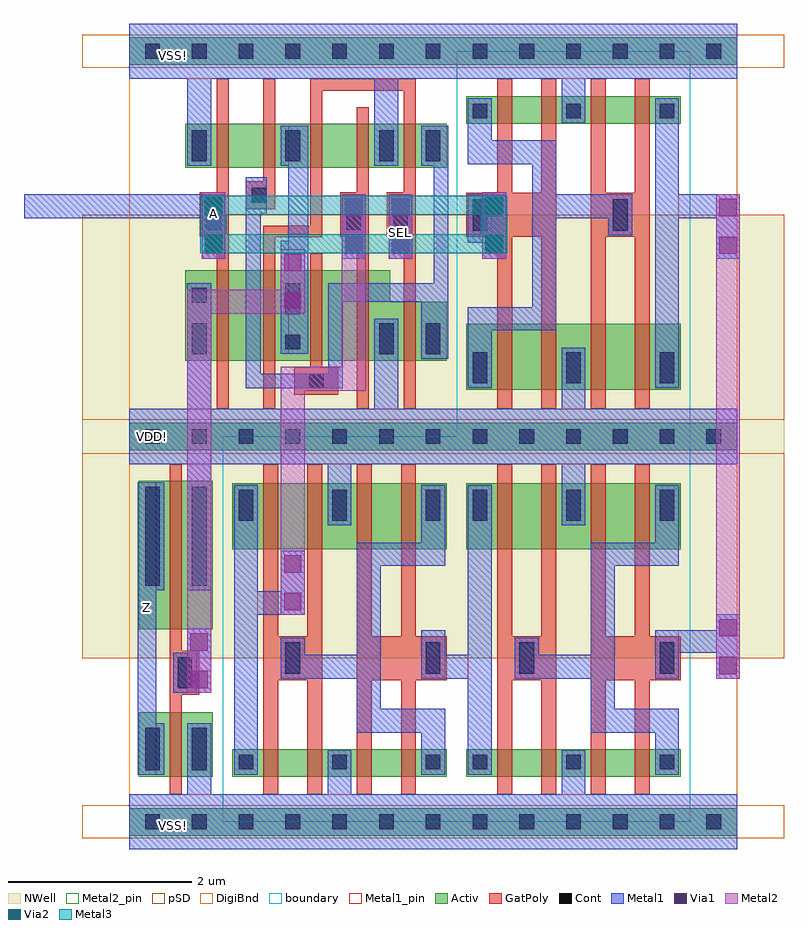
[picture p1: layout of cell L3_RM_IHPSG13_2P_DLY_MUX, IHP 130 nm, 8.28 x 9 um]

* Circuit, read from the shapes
.subckt L3_RM_IHPSG13_2P_DLY_MUX A SEL VDD! VSS! Z
XM1 VSS! L3_RSC_IHPSG13_CINVX2_18/A Z VSS! sg13_lv_nmos w=0.705u l=0.13u
XM2 n1 A VSS! VSS! sg13_lv_nmos w=0.48u l=0.13u
XM3 n2 n3 L3_RSC_IHPSG13_MX2IX1_12/A1 VSS! sg13_lv_nmos w=0.3u l=0.16u
XM4 L3_RSC_IHPSG13_CINVX2_18/A n4 n1 VSS! sg13_lv_nmos w=0.48u l=0.13u
XM5 VSS! n3 n2 VSS! sg13_lv_nmos w=0.3u l=0.16u
XM6 n5 SEL L3_RSC_IHPSG13_CINVX2_18/A VSS! sg13_lv_nmos w=0.48u l=0.13u
XM7 n6 L3_RSC_IHPSG13_CDLYX1_10/A VSS! VSS! sg13_lv_nmos w=0.3u l=0.16u
XM8 VSS! L3_RSC_IHPSG13_MX2IX1_12/A1 n5 VSS! sg13_lv_nmos w=0.48u l=0.13u
XM9 n3 L3_RSC_IHPSG13_CDLYX1_10/A n6 VSS! sg13_lv_nmos w=0.3u l=0.16u
XM10 n4 SEL VSS! VSS! sg13_lv_nmos w=0.48u l=0.13u
XM11 n7 n8 L3_RSC_IHPSG13_CDLYX1_10/A VSS! sg13_lv_nmos w=0.3u l=0.16u
XM12 n9 A n10 VSS! sg13_lv_nmos w=0.3u l=0.16u
XM13 VSS! n8 n7 VSS! sg13_lv_nmos w=0.3u l=0.16u
XM14 VSS! A n9 VSS! sg13_lv_nmos w=0.3u l=0.16u
XM15 n11 L3_RSC_IHPSG13_CDLYX1_11/A VSS! VSS! sg13_lv_nmos w=0.3u l=0.16u
XM16 n12 n10 VSS! VSS! sg13_lv_nmos w=0.3u l=0.16u
XM17 n8 L3_RSC_IHPSG13_CDLYX1_11/A n11 VSS! sg13_lv_nmos w=0.3u l=0.16u
XM18 L3_RSC_IHPSG13_CDLYX1_11/A n10 n12 VSS! sg13_lv_nmos w=0.3u l=0.16u
XM19 VDD! L3_RSC_IHPSG13_CINVX2_18/A Z VDD! sg13_lv_pmos w=1.62u l=0.13u
XM20 n13 A VDD! VDD! sg13_lv_pmos w=0.985u l=0.13u
XM21 n14 n3 L3_RSC_IHPSG13_MX2IX1_12/A1 VDD! sg13_lv_pmos w=0.72u l=0.16u
XM22 L3_RSC_IHPSG13_CINVX2_18/A SEL n13 VDD! sg13_lv_pmos w=0.985u l=0.13u
XM23 VDD! n3 n14 VDD! sg13_lv_pmos w=0.72u l=0.16u
XM24 n15 n4 L3_RSC_IHPSG13_CINVX2_18/A VDD! sg13_lv_pmos w=0.985u l=0.13u
XM25 n16 L3_RSC_IHPSG13_CDLYX1_10/A VDD! VDD! sg13_lv_pmos w=0.72u l=0.16u
XM26 VDD! L3_RSC_IHPSG13_MX2IX1_12/A1 n15 VDD! sg13_lv_pmos w=0.985u l=0.13u
XM27 n3 L3_RSC_IHPSG13_CDLYX1_10/A n16 VDD! sg13_lv_pmos w=0.72u l=0.16u
XM28 n4 SEL VDD! VDD! sg13_lv_pmos w=0.645u l=0.13u
XM29 n17 n8 L3_RSC_IHPSG13_CDLYX1_10/A VDD! sg13_lv_pmos w=0.72u l=0.16u
XM30 n18 A n10 VDD! sg13_lv_pmos w=0.72u l=0.16u
XM31 VDD! n8 n17 VDD! sg13_lv_pmos w=0.72u l=0.16u
XM32 VDD! A n18 VDD! sg13_lv_pmos w=0.72u l=0.16u
XM33 n19 L3_RSC_IHPSG13_CDLYX1_11/A VDD! VDD! sg13_lv_pmos w=0.72u l=0.16u
XM34 n20 n10 VDD! VDD! sg13_lv_pmos w=0.72u l=0.16u
XM35 n8 L3_RSC_IHPSG13_CDLYX1_11/A n19 VDD! sg13_lv_pmos w=0.72u l=0.16u
XM36 L3_RSC_IHPSG13_CDLYX1_11/A n10 n20 VDD! sg13_lv_pmos w=0.72u l=0.16u
.ends

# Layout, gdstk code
from math import pi, radians
import gdstk
lib = gdstk.Library(unit=1e-6, precision=1e-09)
def R(c, l, rs):  # rectangles x0, y0, x1, y1
    for r in rs: c.add(gdstk.rectangle(r[:2], r[2:], *l))
def A(c, l, x, y, w, h, nx, ny, dx, dy):  # array of equal rectangles
    R(c, l, [(x+i*dx, y+j*dy, x+i*dx+w, y+j*dy+h) for i in range(nx) for j in range(ny)])
def P(c, l, *ps):  # polygons
    for p in ps: c.add(gdstk.Polygon(p, *l))
Activ = (1, 0)
GatPoly = (5, 0)
Cont = (6, 0)
Metal1 = (8, 0)
Metal1_pin = (8, 2)
Metal2 = (10, 0)
Metal2_pin = (10, 2)
pSD = (14, 0)
DigiBnd = (16, 0)
Via1 = (19, 0)
Via2 = (29, 0)
Metal3 = (30, 0)
NWell = (31, 0)
boundary = (189, 4)

l3_viagen23_cdns_7564820 = lib.new_cell('L3_viagen23_CDNS_7564820148250')
R(l3_viagen23_cdns_7564820, Metal2, [(-0.13,-0.35,0.13,0.35)])
R(l3_viagen23_cdns_7564820, Via2, [(-0.095,-0.3,0.095,-0.11), (-0.095,0.11,0.095,0.3)])
R(l3_viagen23_cdns_7564820, Metal3, [(-0.145,-0.315,0.145,0.315)])

l3_viagen12_cdns_7564820 = lib.new_cell('L3_viagen12_CDNS_7564820148248')
R(l3_viagen12_cdns_7564820, Metal1, [(-0.13,-0.35,0.13,0.35)])
R(l3_viagen12_cdns_7564820, Metal2, [(-0.13,-0.35,0.13,0.35)])
R(l3_viagen12_cdns_7564820, Via1, [(-0.095,-0.3,0.095,-0.11), (-0.095,0.11,0.095,0.3)])

l3_rsc_ihpsg13_cdlyx1 = lib.new_cell('L3_RSC_IHPSG13_CDLYX1')
R(l3_rsc_ihpsg13_cdlyx1, Activ, [(0,-0.15,2.55,0.15), (0.105,0.49,2.445,0.79), (0.105,2.97,2.445,3.69), (0,4.05,2.55,4.35)])
P(l3_rsc_ihpsg13_cdlyx1, GatPoly, [(0.445,0.3),(0.445,1.545),(0.105,1.545),(0.105,2.025),(0.445,2.025),(0.445,3.9),(0.605,3.9),(0.605,2.025),(0.925,2.025),(0.925,3.9),(1.085,3.9),(1.085,0.3),(0.925,0.3),(0.925,1.545),(0.605,1.545),(0.605,0.3)],
  [(1.465,0.3),(1.465,3.9),(1.625,3.9),(1.625,2.025),(1.945,2.025),(1.945,3.9),(2.105,3.9),(2.105,0.3),(1.945,0.3),(1.945,1.545),(1.625,1.545),(1.625,0.3)])
A(l3_rsc_ihpsg13_cdlyx1, Cont, 0.175, -0.08, 0.16, 0.16, 5, 2, 0.51, 4.2)
A(l3_rsc_ihpsg13_cdlyx1, Cont, 0.175, 0.57, 0.16, 0.16, 3, 1, 1.02, 0)
A(l3_rsc_ihpsg13_cdlyx1, Cont, 0.175, 3.28, 0.16, 0.34, 3, 1, 1.02, 0)
R(l3_rsc_ihpsg13_cdlyx1, Cont, [(0.175,1.615,0.335,1.955), (1.705,1.615,1.865,1.955)])
R(l3_rsc_ihpsg13_cdlyx1, Metal1, [(0,-0.3,2.55,0.3), (1.145,0.3,1.405,0.78), (2.165,0.51,2.425,3.67), (0.125,1.56,0.385,2.09)])
P(l3_rsc_ihpsg13_cdlyx1, Metal1, [(1.145,3.23),(1.145,3.9),(0,3.9),(0,4.5),(2.55,4.5),(2.55,3.9),(1.405,3.9),(1.405,3.23)],
  [(0.125,0.51),(0.125,1.23),(0.825,1.23),(0.825,2.79),(0.125,2.79),(0.125,3.67),(0.385,3.67),(0.385,3.04),(1.085,3.04),(1.085,1.82),(1.655,1.82),(1.655,2.005),(1.915,2.005),(1.915,1.56),(1.085,1.56),(1.085,0.97),(0.385,0.97),(0.385,0.51)])
R(l3_rsc_ihpsg13_cdlyx1, Metal1_pin, [(0,-0.3,2.55,0.3), (2.165,0.51,2.425,3.67), (0.125,1.56,0.385,2.09), (0,3.9,2.55,4.5)])
R(l3_rsc_ihpsg13_cdlyx1, pSD, [(-0.51,-0.18,3.06,0.18), (-0.51,1.785,3.06,4.02)])
R(l3_rsc_ihpsg13_cdlyx1, DigiBnd, [(0,-0.3,2.55,4.5)])
R(l3_rsc_ihpsg13_cdlyx1, NWell, [(-0.51,1.785,3.06,4.725)])
R(l3_rsc_ihpsg13_cdlyx1, boundary, [(0,0,2.55,4.2)])
l3_rsc_ihpsg13_cdlyx1.add(gdstk.Label('Z', (2.3,1.755), layer=8, texttype=25))
l3_rsc_ihpsg13_cdlyx1.add(gdstk.Label('VSS!', (0.465,0), layer=8, texttype=25))
l3_rsc_ihpsg13_cdlyx1.add(gdstk.Label('A', (0.265,1.785), layer=8, texttype=25))
l3_rsc_ihpsg13_cdlyx1.add(gdstk.Label('VDD!', (0.51,4.2), layer=8, texttype=25))

l3_rsc_ihpsg13_mx2ix1 = lib.new_cell('L3_RSC_IHPSG13_MX2IX1')
R(l3_rsc_ihpsg13_mx2ix1, Activ, [(0,-0.15,3.06,0.15), (0.105,0.79,2.955,1.27), (0,4.05,3.06,4.35)])
P(l3_rsc_ihpsg13_mx2ix1, Activ, [(0.105,2.39),(0.105,3.375),(2.955,3.375),(2.955,2.73),(2.335,2.73),(2.335,2.39)])
P(l3_rsc_ihpsg13_mx2ix1, GatPoly, [(1.465,0.3),(1.465,1.9),(0.955,1.9),(0.955,3.9),(1.085,3.9),(1.085,2.03),(1.595,2.03),(1.595,0.43),(2.485,0.43),(2.485,1.54),(2.3,1.54),(2.3,2.02),(2.485,2.02),(2.485,3.9),(2.615,3.9),(2.615,0.3)],
  [(1.465,2.21),(1.465,3.445),(1.29,3.445),(1.29,3.745),(1.77,3.745),(1.77,3.445),(1.595,3.445),(1.595,2.21)],
  [(1.975,0.61),(1.975,1.54),(1.79,1.54),(1.79,2.02),(1.975,2.02),(1.975,3.9),(2.105,3.9),(2.105,0.61)],
  [(0.955,0.3),(0.955,1.42),(0.76,1.42),(0.76,1.72),(1.085,1.72),(1.085,0.3)],
  [(0.445,0.3),(0.445,1.54),(0.26,1.54),(0.26,2.02),(0.445,2.02),(0.445,3.9),(0.575,3.9),(0.575,0.3)])
A(l3_rsc_ihpsg13_mx2ix1, Cont, 0.175, -0.08, 0.16, 0.16, 6, 2, 0.51, 4.2)
A(l3_rsc_ihpsg13_mx2ix1, Cont, 0.175, 0.86, 0.16, 0.34, 3, 1, 1.02, 0)
R(l3_rsc_ihpsg13_mx2ix1, Cont, [(2.725,0.86,2.885,1.2), (0.83,1.49,0.99,1.65), (0.33,1.61,0.49,1.95), (1.86,1.61,2.02,1.95), (2.37,1.61,2.53,1.95), (1.195,2.53,1.355,2.87), (0.175,2.58,0.335,2.74), (0.175,2.965,0.335,3.305), (2.215,2.965,2.375,3.305), (2.725,2.965,2.885,3.305), (1.195,3.09,1.355,3.25), (1.45,3.515,1.61,3.675)])
R(l3_rsc_ihpsg13_mx2ix1, Metal1, [(0.28,1.56,0.54,2), (1.81,1.56,2.07,2), (2.32,1.56,2.58,2)])
P(l3_rsc_ihpsg13_mx2ix1, Metal1, [(0,-0.3),(0,0.3),(0.125,0.3),(0.125,1.25),(0.385,1.25),(0.385,0.3),(2.165,0.3),(2.165,1.25),(2.425,1.25),(2.425,0.3),(3.06,0.3),(3.06,-0.3)],
  [(2.675,0.81),(2.675,1.25),(2.81,1.25),(2.81,2.53),(1.66,2.53),(1.66,3.515),(0.925,3.515),(0.925,1.765),(0.99,1.765),(0.99,1.375),(0.765,1.375),(0.765,3.675),(1.82,3.675),(1.82,2.73),(2.675,2.73),(2.675,3.355),(2.97,3.355),(2.97,0.81)],
  [(0.125,2.53),(0.125,3.9),(0,3.9),(0,4.5),(3.06,4.5),(3.06,3.9),(2.425,3.9),(2.425,2.915),(2.165,2.915),(2.165,3.9),(0.385,3.9),(0.385,2.53)],
  [(1.145,0.81),(1.145,1.25),(1.225,1.25),(1.225,2.065),(1.145,2.065),(1.145,3.3),(1.445,3.3),(1.445,0.81)])
R(l3_rsc_ihpsg13_mx2ix1, Metal1_pin, [(0,-0.3,3.06,0.3), (1.225,0.81,1.445,3.3), (0.28,1.56,0.54,2), (1.81,1.56,2.07,2), (2.32,1.56,2.58,2), (0,3.9,3.06,4.5)])
R(l3_rsc_ihpsg13_mx2ix1, pSD, [(-0.51,-0.18,3.57,0.18), (-0.51,1.785,3.57,4.02)])
R(l3_rsc_ihpsg13_mx2ix1, DigiBnd, [(0,-0.3,3.06,4.5)])
R(l3_rsc_ihpsg13_mx2ix1, NWell, [(-0.51,1.785,3.57,4.725)])
l3_rsc_ihpsg13_mx2ix1.add(gdstk.Label('A0', (0.415,1.755), layer=8, texttype=2))
l3_rsc_ihpsg13_mx2ix1.add(gdstk.Label('VDD!', (0.84,4.2), layer=8, texttype=2))
l3_rsc_ihpsg13_mx2ix1.add(gdstk.Label('VSS!', (1.155,0.005), layer=8, texttype=2))
l3_rsc_ihpsg13_mx2ix1.add(gdstk.Label('S', (2.415,1.815), layer=8, texttype=2))
l3_rsc_ihpsg13_mx2ix1.add(gdstk.Label('ZN', (1.28,2.425), layer=8, texttype=2))
l3_rsc_ihpsg13_mx2ix1.add(gdstk.Label('A1', (1.97,1.725), layer=8, texttype=2))

l3_rsc_ihpsg13_fill1 = lib.new_cell('L3_RSC_IHPSG13_FILL1')
R(l3_rsc_ihpsg13_fill1, Activ, [(0,-0.15,0.51,0.15), (0,4.05,0.51,4.35)])
R(l3_rsc_ihpsg13_fill1, Cont, [(0.175,-0.08,0.335,0.08), (0.175,4.12,0.335,4.28)])
R(l3_rsc_ihpsg13_fill1, Metal1, [(0,-0.3,0.51,0.3), (0,3.9,0.51,4.5)])
R(l3_rsc_ihpsg13_fill1, Metal1_pin, [(0,-0.3,0.51,0.3), (0,3.9,0.51,4.5)])
R(l3_rsc_ihpsg13_fill1, pSD, [(-0.51,-0.18,1.02,0.18), (-0.51,1.785,1.02,4.02)])
R(l3_rsc_ihpsg13_fill1, DigiBnd, [(0,-0.3,0.51,4.5)])
R(l3_rsc_ihpsg13_fill1, NWell, [(-0.51,1.785,1.02,4.725)])
l3_rsc_ihpsg13_fill1.add(gdstk.Label('VDD!', (0.255,4.2), layer=8, texttype=2))
l3_rsc_ihpsg13_fill1.add(gdstk.Label('VSS!', (0.26,0.01), layer=8, texttype=2))

l3_m2_m1_cdns_7564820148 = lib.new_cell('L3_M2_M1_CDNS_756482014820')
R(l3_m2_m1_cdns_7564820148, Metal1, [(-0.35,-0.13,0.35,0.13)])
R(l3_m2_m1_cdns_7564820148, Metal2, [(-0.35,-0.13,0.35,0.13)])
R(l3_m2_m1_cdns_7564820148, Via1, [(-0.3,-0.095,-0.11,0.095), (0.11,-0.095,0.3,0.095)])

l3_rsc_ihpsg13_cinvx2 = lib.new_cell('L3_RSC_IHPSG13_CINVX2')
R(l3_rsc_ihpsg13_cinvx2, Activ, [(0,-0.15,1.02,0.15), (0.105,0.49,0.915,1.195), (0.105,2.1,0.915,3.72), (0,4.05,1.02,4.35)])
P(l3_rsc_ihpsg13_cinvx2, GatPoly, [(0.445,0.3),(0.445,1.385),(0.255,1.385),(0.255,1.865),(0.445,1.865),(0.445,3.9),(0.575,3.9),(0.575,0.3)])
R(l3_rsc_ihpsg13_cinvx2, Cont, [(0.175,-0.08,0.335,0.08), (0.685,-0.08,0.845,0.08), (0.175,0.56,0.335,1.025), (0.685,0.56,0.845,1.025), (0.33,1.455,0.49,1.795), (0.175,2.575,0.335,3.65), (0.685,2.575,0.845,3.65), (0.175,4.12,0.335,4.28), (0.685,4.12,0.845,4.28)])
R(l3_rsc_ihpsg13_cinvx2, Metal1, [(0.28,1.405,0.54,1.845)])
P(l3_rsc_ihpsg13_cinvx2, Metal1, [(0.635,0.51),(0.635,1.075),(0.725,1.075),(0.725,2.525),(0.635,2.525),(0.635,3.7),(0.925,3.7),(0.925,0.51)],
  [(0.125,2.525),(0.125,3.9),(0,3.9),(0,4.5),(1.02,4.5),(1.02,3.9),(0.385,3.9),(0.385,2.525)],
  [(0,-0.3),(0,0.3),(0.125,0.3),(0.125,1.075),(0.385,1.075),(0.385,0.3),(1.02,0.3),(1.02,-0.3)])
R(l3_rsc_ihpsg13_cinvx2, Metal1_pin, [(0,-0.3,1.02,0.3), (0.725,0.51,0.925,3.7), (0.28,1.405,0.54,1.845), (0,3.9,1.02,4.5)])
R(l3_rsc_ihpsg13_cinvx2, pSD, [(-0.51,-0.18,1.53,0.18), (-0.51,1.785,1.53,4.02)])
R(l3_rsc_ihpsg13_cinvx2, DigiBnd, [(0,-0.3,1.02,4.5)])
R(l3_rsc_ihpsg13_cinvx2, NWell, [(-0.51,1.785,1.53,4.725)])
l3_rsc_ihpsg13_cinvx2.add(gdstk.Label('VDD!', (0.565,4.155), layer=8, texttype=2))
l3_rsc_ihpsg13_cinvx2.add(gdstk.Label('VSS!', (0.54,-0.045), layer=8, texttype=2))
l3_rsc_ihpsg13_cinvx2.add(gdstk.Label('A', (0.41,1.625), layer=8, texttype=2))
l3_rsc_ihpsg13_cinvx2.add(gdstk.Label('Z', (0.825,2.015), layer=8, texttype=2))

l3_rm_ihpsg13_2p_dly_mux = lib.new_cell('L3_RM_IHPSG13_2P_DLY_MUX')
R(l3_rm_ihpsg13_2p_dly_mux, Metal1, [(2.935,1.56,3.185,1.82), (5.485,1.84,5.89,2.09), (0.895,2.255,1.3,2.515), (-1.655,6.58,0.28,6.84), (5.485,6.58,5.89,6.84)])
R(l3_rm_ihpsg13_2p_dly_mux, Metal1_pin, [(-0.51,-0.3,0.255,0.3), (-0.415,2.15,-0.215,2.55), (-0.51,3.9,0.43,4.5), (-0.51,8.1,0.255,8.7)])
R(l3_rm_ihpsg13_2p_dly_mux, Metal2, [(5.89,1.84,6.15,6.84), (0.125,2.105,0.385,5.8), (1.145,2.255,1.405,4.96), (1.145,4.7,2.07,4.96), (1.81,4.7,2.07,6.46), (0.125,5.54,1.405,5.8), (1.145,5.54,1.405,6.24)])
R(l3_rm_ihpsg13_2p_dly_mux, Metal2_pin, [(2.32,6.295,2.58,6.555), (0.28,6.5,0.54,6.76)])
R(l3_rm_ihpsg13_2p_dly_mux, Metal3, [(0.28,6.195,3.6,6.405), (0.28,6.615,3.6,6.825)])
l3_rm_ihpsg13_2p_dly_mux.add(gdstk.Reference(l3_viagen23_cdns_7564820, (0.41,6.51)))
l3_rm_ihpsg13_2p_dly_mux.add(gdstk.Reference(l3_viagen23_cdns_7564820, (3.47,6.51)))
l3_rm_ihpsg13_2p_dly_mux.add(gdstk.Reference(l3_viagen12_cdns_7564820, (0.255,1.755), x_reflection=True))
l3_rm_ihpsg13_2p_dly_mux.add(gdstk.Reference(l3_viagen12_cdns_7564820, (1.275,2.605), x_reflection=True))
l3_rm_ihpsg13_2p_dly_mux.add(gdstk.Reference(l3_viagen12_cdns_7564820, (1.275,5.89), x_reflection=True))
l3_rm_ihpsg13_2p_dly_mux.add(gdstk.Reference(l3_viagen12_cdns_7564820, (0.41,6.49), x_reflection=True))
l3_rm_ihpsg13_2p_dly_mux.add(gdstk.Reference(l3_viagen12_cdns_7564820, (1.94,6.49), x_reflection=True))
l3_rm_ihpsg13_2p_dly_mux.add(gdstk.Reference(l3_viagen12_cdns_7564820, (2.45,6.49), x_reflection=True))
l3_rm_ihpsg13_2p_dly_mux.add(gdstk.Reference(l3_viagen12_cdns_7564820, (3.47,6.49), x_reflection=True))
l3_rm_ihpsg13_2p_dly_mux.add(gdstk.Reference(l3_rsc_ihpsg13_cdlyx1, (3.06,8.4), x_reflection=True))
l3_rm_ihpsg13_2p_dly_mux.add(gdstk.Reference(l3_rsc_ihpsg13_cdlyx1, (3.06,0), rotation=pi, x_reflection=True))
l3_rm_ihpsg13_2p_dly_mux.add(gdstk.Reference(l3_rsc_ihpsg13_cdlyx1, (5.61,0), rotation=pi, x_reflection=True))
l3_rm_ihpsg13_2p_dly_mux.add(gdstk.Reference(l3_rsc_ihpsg13_mx2ix1, (0,8.4), x_reflection=True))
l3_rm_ihpsg13_2p_dly_mux.add(gdstk.Reference(l3_rsc_ihpsg13_fill1, (5.61,0)))
l3_rm_ihpsg13_2p_dly_mux.add(gdstk.Reference(l3_rsc_ihpsg13_fill1, (-0.51,8.4), x_reflection=True))
l3_rm_ihpsg13_2p_dly_mux.add(gdstk.Reference(l3_rsc_ihpsg13_fill1, (5.61,8.4), x_reflection=True))
l3_rm_ihpsg13_2p_dly_mux.add(gdstk.Reference(l3_m2_m1_cdns_7564820148, (6.02,1.91), rotation=3*pi/2, x_reflection=True))
l3_rm_ihpsg13_2p_dly_mux.add(gdstk.Reference(l3_m2_m1_cdns_7564820148, (6.02,6.49), rotation=3*pi/2, x_reflection=True))
l3_rm_ihpsg13_2p_dly_mux.add(gdstk.Reference(l3_rsc_ihpsg13_cinvx2, (0.51,0), rotation=pi, x_reflection=True))
l3_rm_ihpsg13_2p_dly_mux.add(gdstk.Label('Z', (-0.315,2.335), layer=8, texttype=25))
l3_rm_ihpsg13_2p_dly_mux.add(gdstk.Label('VDD!', (-0.255,4.2), layer=8, texttype=25))
l3_rm_ihpsg13_2p_dly_mux.add(gdstk.Label('VSS!', (-0.03,-0.045), layer=8, texttype=25))
l3_rm_ihpsg13_2p_dly_mux.add(gdstk.Label('VSS!', (-0.03,8.355), layer=8, texttype=25))
l3_rm_ihpsg13_2p_dly_mux.add(gdstk.Label('SEL', (2.45,6.425), layer=10, texttype=25))
l3_rm_ihpsg13_2p_dly_mux.add(gdstk.Label('A', (0.41,6.63), layer=10, texttype=25))

lib.write_gds('L3_RM_IHPSG13_2P_DLY_MUX.gds')
